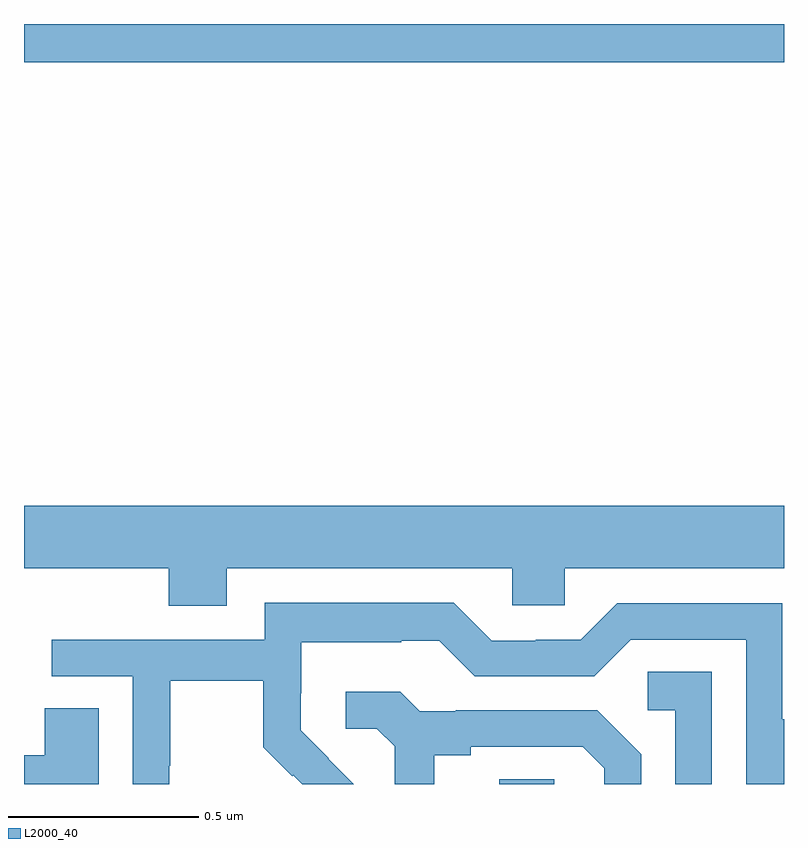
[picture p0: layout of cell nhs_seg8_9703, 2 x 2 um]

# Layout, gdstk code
import gdstk
lib = gdstk.Library(unit=1e-6, precision=1e-09)
def R(c, l, rs):  # rectangles x0, y0, x1, y1
    for r in rs: c.add(gdstk.rectangle(r[:2], r[2:], *l))
def P(c, l, *ps):  # polygons
    for p in ps: c.add(gdstk.Polygon(p, *l))
L2000_40 = (2000, 40)

nhs_seg8_9703 = lib.new_cell('nhs_seg8_9703')
R(nhs_seg8_9703, L2000_40, [(240.251,1147.9,240.396,1147.913), (239,1149.8,241,1149.9)])
P(nhs_seg8_9703, L2000_40, [(239.533,1148.468),(240.285,1148.468),(240.285,1148.37),(240.423,1148.37),(240.423,1148.468),(241,1148.468),(241,1148.632),(239,1148.632),(239,1148.468),(239.381,1148.468),(239.381,1148.369),(239.533,1148.369)],
  [(239.382,1147.948),(239.385,1147.948),(239.385,1148.172),(239.629,1148.172),(239.629,1147.997),(239.706,1147.92),(239.709,1147.923),(239.732,1147.9),(239.868,1147.9),(239.801,1147.967),(239.802,1147.968),(239.728,1148.042),(239.728,1148.139),(239.73,1148.139),(239.73,1148.273),(239.993,1148.273),(239.993,1148.277),(240.093,1148.277),(240.186,1148.184),(240.501,1148.184),(240.597,1148.28),(240.9,1148.28),(240.9,1147.9),(241,1147.9),(241,1148.071),(240.996,1148.071),(240.996,1148.376),(240.561,1148.376),(240.465,1148.28),(240.347,1148.28),(240.347,1148.277),(240.231,1148.277),(240.131,1148.377),(239.634,1148.377),(239.634,1148.28),(239.073,1148.28),(239.073,1148.184),(239.286,1148.184),(239.286,1147.9),(239.382,1147.9)],
  [(240.81,1148.195),(240.642,1148.195),(240.642,1148.094),(240.714,1148.094),(240.714,1147.9),(240.81,1147.9)],
  [(240.079,1147.976),(240.175,1147.976),(240.175,1147.998),(240.47,1147.998),(240.527,1147.941),(240.527,1147.9),(240.624,1147.9),(240.624,1147.978),(240.508,1148.094),(240.136,1148.094),(240.136,1148.091),(240.042,1148.091),(239.99,1148.143),(239.847,1148.143),(239.847,1148.046),(239.928,1148.046),(239.975,1147.999),(239.975,1147.9),(240.079,1147.9)],
  [(239.197,1148.099),(239.054,1148.099),(239.054,1147.976),(239,1147.976),(239,1147.9),(239.197,1147.9)])

lib.write_gds('nhs_seg8_9703.gds')
